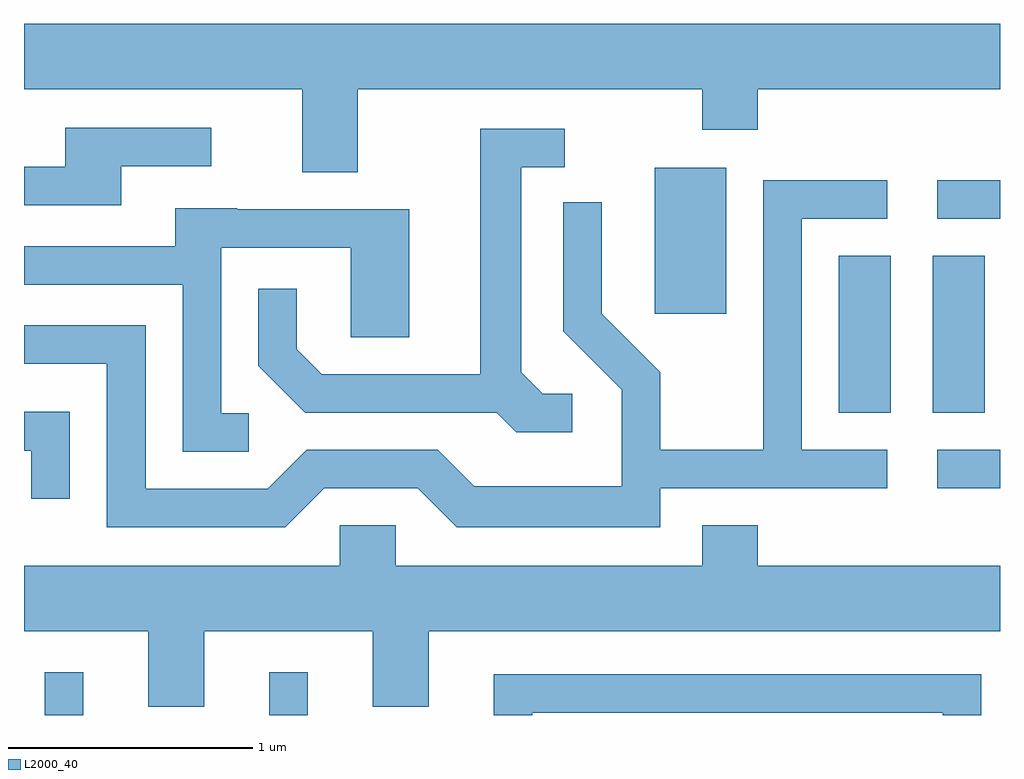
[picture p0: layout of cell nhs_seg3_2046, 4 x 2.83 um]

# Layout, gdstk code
import gdstk
lib = gdstk.Library(unit=1e-6, precision=1e-09)
def R(c, l, rs):  # rectangles x0, y0, x1, y1
    for r in rs: c.add(gdstk.rectangle(r[:2], r[2:], *l))
def P(c, l, *ps):  # polygons
    for p in ps: c.add(gdstk.Polygon(p, *l))
L2000_40 = (2000, 40)

nhs_seg3_2046 = lib.new_cell('nhs_seg3_2046')
R(nhs_seg3_2046, L2000_40, [(245.696,1127.892,245.854,1128.068), (246.616,1127.892,246.774,1128.068), (249.353,1128.821,249.611,1128.979), (248.951,1129.131,249.164,1129.774), (249.336,1129.131,249.549,1129.774), (248.196,1129.536,248.489,1130.134), (249.353,1129.926,249.611,1130.084)])
P(nhs_seg3_2046, L2000_40, [(246.979,1130.456),(248.391,1130.456),(248.391,1130.291),(248.619,1130.291),(248.619,1130.456),(249.611,1130.456),(249.611,1130.724),(245.611,1130.724),(245.611,1130.456),(246.751,1130.456),(246.751,1130.116),(246.979,1130.116)],
  [(246.009,1130.141),(246.378,1130.141),(246.378,1130.299),(245.781,1130.299),(245.781,1130.139),(245.611,1130.139),(245.611,1129.981),(246.009,1129.981)],
  [(247.858,1129.209),(247.737,1129.209),(247.649,1129.297),(247.649,1130.136),(247.828,1130.136),(247.828,1130.294),(247.481,1130.294),(247.481,1129.289),(246.832,1129.289),(246.729,1129.392),(246.729,1129.638),(246.571,1129.638),(246.571,1129.324),(246.764,1129.131),(247.549,1129.131),(247.629,1129.051),(247.858,1129.051)],
  [(246.842,1128.821),(247.224,1128.821),(247.384,1128.661),(248.219,1128.661),(248.219,1128.821),(249.148,1128.821),(249.148,1128.979),(248.799,1128.979),(248.799,1129.926),(249.148,1129.926),(249.148,1130.084),(248.641,1130.084),(248.641,1128.979),(248.219,1128.979),(248.219,1129.297),(247.979,1129.537),(247.979,1129.993),(247.821,1129.993),(247.821,1129.464),(248.061,1129.224),(248.061,1128.829),(247.457,1128.829),(247.307,1128.979),(246.769,1128.979),(246.609,1128.819),(246.109,1128.819),(246.109,1129.489),(245.611,1129.489),(245.611,1129.331),(245.951,1129.331),(245.951,1128.661),(246.682,1128.661)],
  [(246.533,1129.129),(246.419,1129.129),(246.419,1129.806),(246.951,1129.806),(246.951,1129.441),(247.189,1129.441),(247.189,1129.964),(246.485,1129.964),(246.485,1129.969),(246.231,1129.969),(246.231,1129.814),(245.611,1129.814),(245.611,1129.656),(246.261,1129.656),(246.261,1128.971),(246.533,1128.971)],
  [(245.799,1129.134),(245.611,1129.134),(245.611,1128.976),(245.641,1128.976),(245.641,1128.778),(245.799,1128.778)],
  [(246.349,1128.236),(247.041,1128.236),(247.041,1127.926),(247.269,1127.926),(247.269,1128.236),(249.611,1128.236),(249.611,1128.504),(248.619,1128.504),(248.619,1128.669),(248.391,1128.669),(248.391,1128.504),(247.134,1128.504),(247.134,1128.669),(246.906,1128.669),(246.906,1128.504),(245.611,1128.504),(245.611,1128.236),(246.121,1128.236),(246.121,1127.926),(246.349,1127.926)],
  [(247.694,1127.901),(249.376,1127.901),(249.376,1127.892),(249.534,1127.892),(249.534,1128.059),(247.536,1128.059),(247.536,1127.892),(247.694,1127.892)])

lib.write_gds('nhs_seg3_2046.gds')
